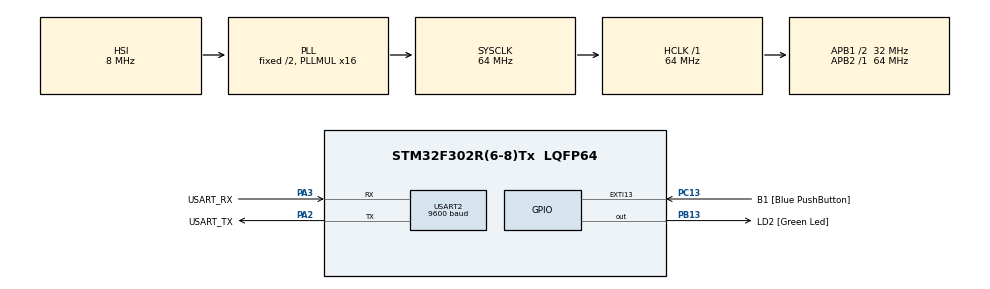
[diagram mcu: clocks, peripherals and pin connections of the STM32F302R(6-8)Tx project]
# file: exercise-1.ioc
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Dma.Request0=USART2_RX
Dma.Request1=USART2_TX
Dma.USART2_RX.0.Direction=DMA_PERIPH_TO_MEMORY
Dma.USART2_RX.0.Instance=DMA1_Channel6
Dma.USART2_RX.0.MemDataAlignment=DMA_MDATAALIGN_BYTE
Dma.USART2_RX.0.MemInc=DMA_MINC_ENABLE
Dma.USART2_RX.0.Mode=DMA_NORMAL
Dma.USART2_RX.0.PeriphDataAlignment=DMA_PDATAALIGN_BYTE
Dma.USART2_RX.0.PeriphInc=DMA_PINC_DISABLE
Dma.USART2_RX.0.Priority=DMA_PRIORITY_LOW
Dma.USART2_TX.1.Direction=DMA_MEMORY_TO_PERIPH
Dma.USART2_TX.1.Instance=DMA1_Channel7
Dma.USART2_TX.1.MemDataAlignment=DMA_MDATAALIGN_BYTE
Dma.USART2_TX.1.MemInc=DMA_MINC_ENABLE
Dma.USART2_TX.1.Mode=DMA_NORMAL
Dma.USART2_TX.1.PeriphDataAlignment=DMA_PDATAALIGN_BYTE
Dma.USART2_TX.1.PeriphInc=DMA_PINC_DISABLE
Dma.USART2_TX.1.Priority=DMA_PRIORITY_LOW
Mcu.Family=STM32F3
Mcu.Name=STM32F302R(6-8)Tx
Mcu.Package=LQFP64
NVIC.DMA1_Channel6_IRQn=true\:0\:0\:false\:false\:true\:false\:true\:true
NVIC.DMA1_Channel7_IRQn=true\:0\:0\:false\:false\:true\:false\:true\:true
NVIC.PriorityGroup=NVIC_PRIORITYGROUP_0
PA13.GPIO_Label=TMS
PA13.Mode=Serial_Wire
PA13.Signal=SYS_JTMS-SWDIO
PA14.GPIO_Label=TCK
PA14.Mode=Serial_Wire
PA14.Signal=SYS_JTCK-SWCLK
PA2.GPIO_Label=USART_TX
PA2.GPIO_Mode=GPIO_MODE_AF_PP
PA2.GPIO_PuPd=GPIO_NOPULL
PA2.GPIO_Speed=GPIO_SPEED_FREQ_LOW
PA2.Mode=Asynchronous
PA2.Signal=USART2_TX
PA3.GPIO_Label=USART_RX
PA3.GPIO_Mode=GPIO_MODE_AF_PP
PA3.GPIO_PuPd=GPIO_NOPULL
PA3.GPIO_Speed=GPIO_SPEED_FREQ_LOW
PA3.Mode=Asynchronous
PA3.Signal=USART2_RX
PB13.GPIO_Label=LD2 [Green Led]
PB13.Signal=GPIO_Output
PB3.GPIO_Label=SWO
PB3.Mode=Trace_Asynchronous_SW
PB3.Signal=SYS_JTDO-TRACESWO
PC13.GPIO_Label=B1 [Blue PushButton]
PC13.GPIO_ModeDefaultEXTI=GPIO_MODE_IT_FALLING
PC13.Signal=GPXTI13
PC14\ -\ OSC32_IN.Mode=LSE-External-Oscillator
PC14\ -\ OSC32_IN.Signal=RCC_OSC32_IN
PC15\ -\ OSC32_OUT.Mode=LSE-External-Oscillator
PC15\ -\ OSC32_OUT.Signal=RCC_OSC32_OUT
PF0-OSC_IN.Mode=HSE-External-Clock-Source
PF0-OSC_IN.Signal=RCC_OSC_IN
PF1-OSC_OUT.Signal=RCC_OSC_OUT
ProjectManager.HeapSize=0x200
ProjectManager.StackSize=0x400
ProjectManager.TargetToolchain=STM32CubeIDE
RCC.AHBFreq_Value=64000000
RCC.APB1CLKDivider=RCC_HCLK_DIV2
RCC.APB1Freq_Value=32000000
RCC.APB1TimFreq_Value=64000000
RCC.APB2Freq_Value=64000000
RCC.APB2TimFreq_Value=64000000
RCC.CortexFreq_Value=64000000
RCC.HCLKFreq_Value=64000000
RCC.HSE_VALUE=8000000
RCC.HSI_VALUE=8000000
RCC.PLLM=8
RCC.PLLMUL=RCC_PLL_MUL16
RCC.PLLN=336
RCC.PLLP=RCC_PLLP_DIV4
RCC.PLLQ=7
RCC.RCC_PLLsource_Clock_Source_FROM_HSE=RCC_HSE_PREDIV_DIV2
RCC.SYSCLKFreq_VALUE=64000000
RCC.SYSCLKSourceVirtual=RCC_SYSCLKSOURCE_PLLCLK
RCC.USBFreq_Value=64000000
USART2.BaudRate=9600
USART2.VirtualMode-Asynchronous=VM_ASYNC
board=NUCLEO-F302R8

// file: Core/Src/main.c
/* USER CODE BEGIN Header */
/**
  ******************************************************************************
  * @file           : main.c
  * @brief          : Main program body
  ******************************************************************************
  * @attention
  *
  * Copyright (c) 2026 STMicroelectronics.
  * All rights reserved.
  *
  * This software is licensed under terms that can be found in the LICENSE file
  * in the root directory of this software component.
  * If no LICENSE file comes with this software, it is provided AS-IS.
  *
  ******************************************************************************
  */
/* USER CODE END Header */
#include "main.h"
#include "dma.h"
#include "usart.h"
#include "gpio.h"

/* USER CODE BEGIN Includes */
#include<string.h>
/* USER CODE END Includes */

/* USER CODE BEGIN PV */
extern DMA_HandleTypeDef hdma_usart2_tx;
char msg[] = "s250445";

/* USER CODE END PV */

void SystemClock_Config(void);

int main(void)
{

  /* MCU Configuration--------------------------------------------------------*/

  /* Reset of all peripherals, Initializes the Flash interface and the Systick. */
  HAL_Init();

  /* Configure the system clock */
  SystemClock_Config();

  /* Initialize all configured peripherals */
  MX_GPIO_Init();
  MX_DMA_Init();
  MX_USART2_UART_Init();
  /* USER CODE BEGIN 2 */
  hdma_usart2_tx.Instance = DMA1_Channel7;
  hdma_usart2_tx.Init.Direction = DMA_MEMORY_TO_PERIPH;
  hdma_usart2_tx.Init.PeriphInc = DMA_PINC_DISABLE;
  hdma_usart2_tx.Init.MemInc = DMA_MINC_ENABLE;
  hdma_usart2_tx.Init.PeriphDataAlignment = DMA_PDATAALIGN_BYTE;
  hdma_usart2_tx.Init.MemDataAlignment = DMA_MDATAALIGN_BYTE;
  hdma_usart2_tx.Init.Mode = DMA_NORMAL;
  hdma_usart2_tx.Init.Priority = DMA_PRIORITY_LOW;

  HAL_DMA_Init(&hdma_usart2_tx);
  HAL_DMA_Start(
    &hdma_usart2_tx,
    (uint32_t)msg,
    (uint32_t)&huart2.Instance->TDR,
    (uint32_t)strlen(msg)
  );

  huart2.Instance->CR3 |= USART_CR3_DMAT;
  HAL_DMA_PollForTransfer(
    &hdma_usart2_tx,
    HAL_DMA_FULL_TRANSFER,
    HAL_MAX_DELAY
  );
  huart2.Instance->CR3 &= ~USART_CR3_DMAT;

  HAL_GPIO_WritePin(LD2_GPIO_Port, LD2_Pin, GPIO_PIN_SET);

  /* USER CODE END 2 */

  /* Infinite loop */
  while (1)
  {

  }
}

void SystemClock_Config(void)
{
  RCC_OscInitTypeDef RCC_OscInitStruct = {0};
  RCC_ClkInitTypeDef RCC_ClkInitStruct = {0};

  /** Initializes the RCC Oscillators according to the specified parameters
  * in the RCC_OscInitTypeDef structure.
  */
  RCC_OscInitStruct.OscillatorType = RCC_OSCILLATORTYPE_HSI;
  RCC_OscInitStruct.HSIState = RCC_HSI_ON;
  RCC_OscInitStruct.HSICalibrationValue = RCC_HSICALIBRATION_DEFAULT;
  RCC_OscInitStruct.PLL.PLLState = RCC_PLL_ON;
  RCC_OscInitStruct.PLL.PLLSource = RCC_PLLSOURCE_HSI;
  RCC_OscInitStruct.PLL.PLLMUL = RCC_PLL_MUL16;
  if (HAL_RCC_OscConfig(&RCC_OscInitStruct) != HAL_OK)
  {
    Error_Handler();
  }

  /** Initializes the CPU, AHB and APB buses clocks
  */
  RCC_ClkInitStruct.ClockType = RCC_CLOCKTYPE_HCLK|RCC_CLOCKTYPE_SYSCLK
                              |RCC_CLOCKTYPE_PCLK1|RCC_CLOCKTYPE_PCLK2;
  RCC_ClkInitStruct.SYSCLKSource = RCC_SYSCLKSOURCE_PLLCLK;
  RCC_ClkInitStruct.AHBCLKDivider = RCC_SYSCLK_DIV1;
  RCC_ClkInitStruct.APB1CLKDivider = RCC_HCLK_DIV2;
  RCC_ClkInitStruct.APB2CLKDivider = RCC_HCLK_DIV1;

  if (HAL_RCC_ClockConfig(&RCC_ClkInitStruct, FLASH_LATENCY_2) != HAL_OK)
  {
    Error_Handler();
  }
}

void Error_Handler(void)
{
  __disable_irq();
  while (1)
  {
  }
}
